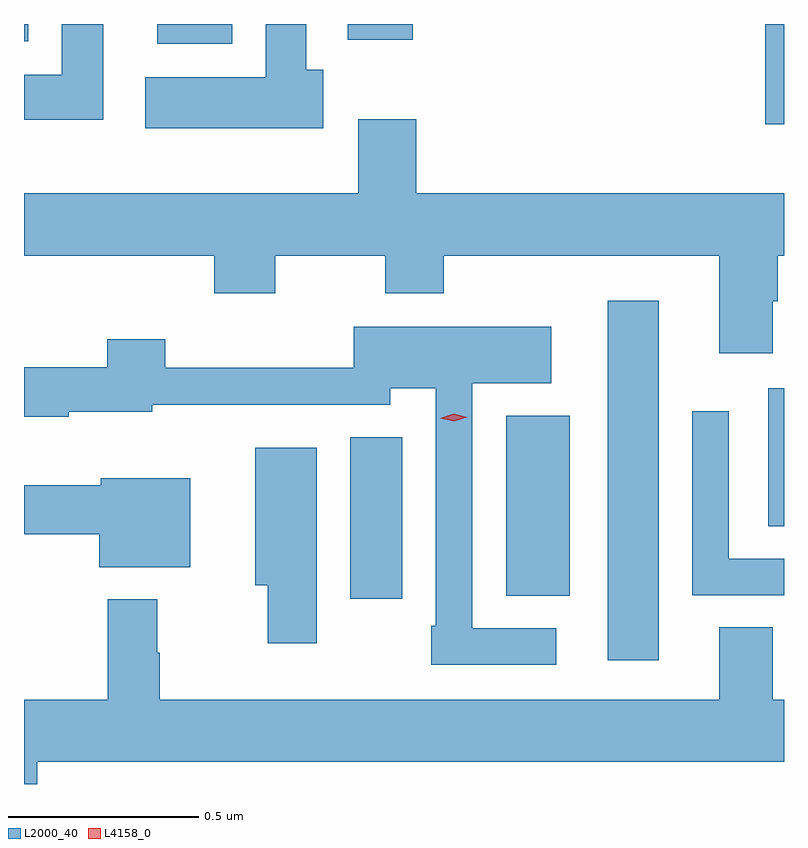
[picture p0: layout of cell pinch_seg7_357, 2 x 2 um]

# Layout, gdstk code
import gdstk
lib = gdstk.Library(unit=1e-6, precision=1e-09)
def R(c, l, rs):  # rectangles x0, y0, x1, y1
    for r in rs: c.add(gdstk.rectangle(r[:2], r[2:], *l))
def P(c, l, *ps):  # polygons
    for p in ps: c.add(gdstk.Polygon(p, *l))
L2000_40 = (2000, 40)
L4158_0 = (4158, 0)

pinch_seg7_357 = lib.new_cell('pinch_seg7_357')
R(pinch_seg7_357, L2000_40, [(396.686,1002.216,396.82,1003.162), (396.008,1002.378,396.145,1002.803), (396.419,1002.385,396.586,1002.859), (397.109,1002.568,397.15,1002.931), (397.1,1003.626,397.15,1003.89), (395.501,1003.838,395.698,1003.89), (395.15,1003.844,395.161,1003.89), (396.002,1003.848,396.173,1003.89)])
P(pinch_seg7_357, L2000_40, [(395.938,1003.77),(395.893,1003.77),(395.893,1003.89),(395.786,1003.89),(395.786,1003.75),(395.469,1003.75),(395.469,1003.616),(395.938,1003.616)],
  [(395.359,1003.89),(395.249,1003.89),(395.249,1003.756),(395.15,1003.756),(395.15,1003.638),(395.359,1003.638)],
  [(397.12,1003.16),(397.133,1003.16),(397.133,1003.28),(397.15,1003.28),(397.15,1003.444),(396.182,1003.444),(396.182,1003.639),(396.029,1003.639),(396.029,1003.444),(395.15,1003.444),(395.15,1003.28),(395.651,1003.28),(395.651,1003.181),(395.811,1003.181),(395.811,1003.28),(396.1,1003.28),(396.1,1003.181),(396.255,1003.181),(396.255,1003.28),(396.98,1003.28),(396.98,1003.023),(397.12,1003.023)],
  [(396.55,1002.3),(396.33,1002.3),(396.33,1002.944),(396.538,1002.944),(396.538,1003.093),(396.018,1003.093),(396.018,1002.986),(395.522,1002.986),(395.522,1003.06),(395.369,1003.06),(395.369,1002.987),(395.15,1002.987),(395.15,1002.857),(395.268,1002.857),(395.268,1002.869),(395.487,1002.869),(395.487,1002.888),(396.114,1002.888),(396.114,1002.932),(396.234,1002.932),(396.234,1002.307),(396.222,1002.307),(396.222,1002.204),(396.55,1002.204)],
  [(397.15,1002.483),(397.005,1002.483),(397.005,1002.871),(396.909,1002.871),(396.909,1002.387),(397.15,1002.387)],
  [(395.92,1002.775),(395.759,1002.775),(395.759,1002.413),(395.791,1002.413),(395.791,1002.261),(395.92,1002.261)],
  [(395.587,1002.694),(395.352,1002.694),(395.352,1002.676),(395.15,1002.676),(395.15,1002.547),(395.348,1002.547),(395.348,1002.461),(395.587,1002.461)],
  [(395.185,1001.948),(397.15,1001.948),(397.15,1002.112),(397.12,1002.112),(397.12,1002.302),(396.98,1002.302),(396.98,1002.112),(395.507,1002.112),(395.507,1002.236),(395.5,1002.236),(395.5,1002.376),(395.371,1002.376),(395.371,1002.112),(395.15,1002.112),(395.15,1001.89),(395.185,1001.89)])
P(pinch_seg7_357, L4158_0, [(396.282,1002.844),(396.246,1002.852),(396.246,1002.853),(396.246,1002.853),(396.281,1002.864),(396.316,1002.855),(396.316,1002.855),(396.316,1002.855)])

lib.write_gds('pinch_seg7_357.gds')
